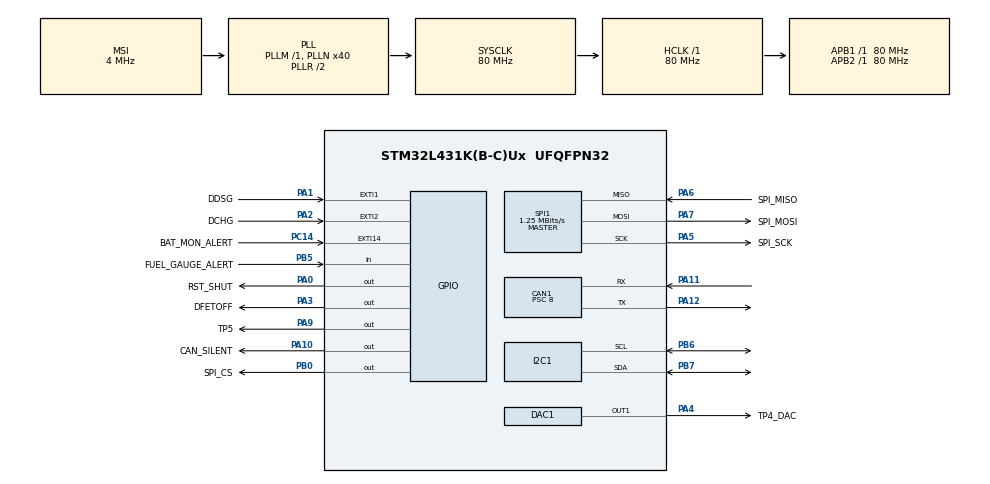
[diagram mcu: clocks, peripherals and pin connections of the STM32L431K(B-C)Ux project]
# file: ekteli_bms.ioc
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CAN1.ABOM=ENABLE
CAN1.AWUM=ENABLE
CAN1.BS1=CAN_BS1_14TQ
CAN1.BS2=CAN_BS2_5TQ
CAN1.CalculateBaudRate=500000
CAN1.CalculateTimeBit=2000
CAN1.CalculateTimeQuantum=100.0
CAN1.NART=ENABLE
CAN1.Prescaler=8
CAN1.RFLM=DISABLE
CAN1.TXFP=ENABLE
CRC.DefaultInitValueUse=DEFAULT_INIT_VALUE_ENABLE
CRC.DefaultPolynomialUse=DEFAULT_POLYNOMIAL_ENABLE
CRC.InputDataFormat=CRC_INPUTDATA_FORMAT_WORDS
FREERTOS.BinarySemaphores01=semaphore_1,Dynamic,NULL,Available
FREERTOS.Mutexes01=mutex_01,Dynamic,NULL,Available
FREERTOS.Queues01=CANQueue,32,can_message_t,0,Dynamic,NULL,NULL
FREERTOS.Tasks01=defaultTask,24,128,StartDefaultTask,Default,(void *)(uintptr_t)otp_status,Dynamic,NULL,NULL;BMSMonitor,24,128,bms_monitor,Default,NULL,Dynamic,NULL,NULL;FuelGaugeMonitor,8,128,fuel_gauge_monitor,Default,NULL,Dynamic,NULL,NULL;CANMonitor,8,128,can_monitor,Default,NULL,Dynamic,NULL,NULL;bms_task,24,128,bms_main_task,Default,NULL,Dynamic,NULL,NULL
FREERTOS.configCHECK_FOR_STACK_OVERFLOW=2
FREERTOS.configENABLE_FPU=1
FREERTOS.configMAX_TASK_NAME_LEN=32
FREERTOS.configTOTAL_HEAP_SIZE=5000
I2C1.Timing=0x10D19CE4
Mcu.Family=STM32L4
Mcu.Name=STM32L431K(B-C)Ux
Mcu.Package=UFQFPN32
NVIC.CAN1_RX0_IRQn=true\:5\:0\:false\:false\:true\:true\:true\:true\:true
NVIC.PriorityGroup=NVIC_PRIORITYGROUP_4
NVIC.TIM7_IRQn=true\:15\:0\:true\:false\:true\:false\:false\:true\:true
NVIC.TimeBase=TIM7_IRQn
NVIC.TimeBaseIP=TIM7
PA0.GPIO_Label=RST_SHUT
PA0.GPIO_PuPd=GPIO_PULLDOWN
PA0.Signal=GPIO_Output
PA1.GPIO_Label=DDSG
PA1.GPIO_ModeDefaultEXTI=GPIO_MODE_IT_FALLING
PA1.Signal=GPXTI1
PA10.GPIO_Label=CAN_SILENT
PA10.Signal=GPIO_Output
PA11.Mode=CAN_Activate
PA11.Signal=CAN1_RX
PA12.Mode=CAN_Activate
PA12.Signal=CAN1_TX
PA13\ (JTMS-SWDIO).Mode=Trace_Asynchronous_SW
PA13\ (JTMS-SWDIO).Signal=SYS_JTMS-SWDIO
PA14\ (JTCK-SWCLK).Mode=Trace_Asynchronous_SW
PA14\ (JTCK-SWCLK).Signal=SYS_JTCK-SWCLK
PA2.GPIO_Label=DCHG
PA2.GPIO_ModeDefaultEXTI=GPIO_MODE_IT_FALLING
PA2.Signal=GPXTI2
PA3.GPIO_Label=DFETOFF
PA3.Signal=GPIO_Output
PA4.GPIO_Label=TP4_DAC
PA4.Signal=COMP_DAC11_group
PA5.GPIO_Label=SPI_SCK
PA5.Mode=Full_Duplex_Master
PA5.Signal=SPI1_SCK
PA6.GPIO_Label=SPI_MISO
PA6.Mode=Full_Duplex_Master
PA6.Signal=SPI1_MISO
PA7.GPIO_Label=SPI_MOSI
PA7.Mode=Full_Duplex_Master
PA7.Signal=SPI1_MOSI
PA9.GPIO_Label=TP5
PA9.Signal=GPIO_Output
PB0.GPIO_Label=SPI_CS
PB0.PinState=GPIO_PIN_SET
PB0.Signal=GPIO_Output
PB3\ (JTDO-TRACESWO).Mode=Trace_Asynchronous_SW
PB3\ (JTDO-TRACESWO).Signal=SYS_JTDO-SWO
PB5.GPIO_Label=FUEL_GAUGE_ALERT
PB5.Signal=GPIO_Input
PB6.Mode=I2C
PB6.Signal=I2C1_SCL
PB7.Mode=I2C
PB7.Signal=I2C1_SDA
PC14-OSC32_IN\ (PC14).GPIO_Label=BAT_MON_ALERT
PC14-OSC32_IN\ (PC14).GPIO_ModeDefaultEXTI=GPIO_MODE_IT_RISING
PC14-OSC32_IN\ (PC14).GPIO_PuPd=GPIO_NOPULL
PC14-OSC32_IN\ (PC14).Signal=GPXTI14
ProjectManager.HeapSize=0x0
ProjectManager.StackSize=0x400
ProjectManager.TargetToolchain=STM32CubeIDE
RCC.AHBFreq_Value=80000000
RCC.APB1Freq_Value=80000000
RCC.APB1TimFreq_Value=80000000
RCC.APB2Freq_Value=80000000
RCC.APB2TimFreq_Value=80000000
RCC.CortexFreq_Value=80000000
RCC.HCLKFreq_Value=80000000
RCC.HSE_VALUE=8000000
RCC.HSI48_VALUE=48000000
RCC.HSI_VALUE=16000000
RCC.LSE_VALUE=32768
RCC.MSI_VALUE=4000000
RCC.PLLN=40
RCC.SYSCLKFreq_VALUE=80000000
RCC.SYSCLKSource=RCC_SYSCLKSOURCE_PLLCLK
RCC.VCOOutputFreq_Value=160000000
SH.COMP_DAC11_group.0=DAC1_OUT1,DAC_OUT1
SPI1.BaudRatePrescaler=SPI_BAUDRATEPRESCALER_64
SPI1.CRCCalculation=SPI_CRCCALCULATION_DISABLE
SPI1.CalculateBaudRate=1.25 MBits/s
SPI1.DataSize=SPI_DATASIZE_8BIT
SPI1.Direction=SPI_DIRECTION_2LINES
SPI1.Mode=SPI_MODE_MASTER
SPI1.NSSPMode=SPI_NSS_PULSE_DISABLE
SPI1.VirtualType=VM_MASTER
VP_CRC_VS_CRC.Mode=CRC_Activate
VP_FREERTOS_VS_CMSIS_V2.Mode=CMSIS_V2
VP_RTC_VS_RTC_Activate.Mode=RTC_Enabled
VP_SYS_VS_tim7.Mode=TIM7
board=custom

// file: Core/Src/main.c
/* USER CODE BEGIN Header */
/**
 ******************************************************************************
 * @file           : main.c
 * @brief          : Main program body
 ******************************************************************************
 * @attention
 *
 * Copyright (c) 2025 STMicroelectronics.
 * All rights reserved.
 *
 * This software is licensed under terms that can be found in the LICENSE file
 * in the root directory of this software component.
 * If no LICENSE file comes with this software, it is provided AS-IS.
 *
 ******************************************************************************
 */
/* USER CODE END Header */
#include "cmsis_os.h"
#include "main.h"

/* USER CODE BEGIN Includes */
#include <string.h>
#include "bms.h"
#include "can_driver.h"
#include "can_messages.h"
/* USER CODE END Includes */

/* USER CODE BEGIN PD */
#if !defined(BMS_MODEL_10S) && !defined(BMS_MODEL_14S)
#error "Must define BMS_MODEL_10S or BMS_MODEL_14S"
#endif

#define MIN_PACK_VOLTAGE_MV  (25000u)    // 2.5V per cell * 10 cells
#define MAX_PACK_VOLTAGE_MV  (42000u)    // 4.2V
#define DIFF_PACK_VOLTAGE_MV (MAX_PACK_VOLTAGE_MV - MIN_PACK_VOLTAGE_MV)

#define TIME_TO_SLEEP_MIN (1u)    // Time of inactivity before entering sleep mode (30 minutes)

#define APPLICATION_ADDRESS (0x08004000u)    // Defined in linker script FLASH ORIGIN
#define FLASH_LENGTH        (0x0001C000u)    // Defined in linker script FLASH LENGTH
/* USER CODE END PD */

/* USER CODE BEGIN PM */
#define TIME_TO_SLEEP_MS_FROM_MINUTES (TIME_TO_SLEEP_MIN * 60000u)
/* USER CODE END PM */

CAN_HandleTypeDef hcan1;

CRC_HandleTypeDef hcrc;

DAC_HandleTypeDef hdac1;

I2C_HandleTypeDef hi2c1;

RTC_HandleTypeDef hrtc;

SPI_HandleTypeDef hspi1;

/* Definitions for defaultTask */
osThreadId_t         defaultTaskHandle;
const osThreadAttr_t defaultTask_attributes = {
    .name       = "defaultTask",
    .stack_size = 128 * 4,
    .priority   = (osPriority_t)osPriorityNormal,
};
/* Definitions for BMSMonitor */
osThreadId_t         BMSMonitorHandle;
const osThreadAttr_t BMSMonitor_attributes = {
    .name       = "BMSMonitor",
    .stack_size = 128 * 4,
    .priority   = (osPriority_t)osPriorityNormal,
};
/* Definitions for FuelGaugeMonitor */
osThreadId_t         FuelGaugeMonitorHandle;
const osThreadAttr_t FuelGaugeMonitor_attributes = {
    .name       = "FuelGaugeMonitor",
    .stack_size = 128 * 4,
    .priority   = (osPriority_t)osPriorityLow,
};
/* Definitions for CANMonitor */
osThreadId_t         CANMonitorHandle;
const osThreadAttr_t CANMonitor_attributes = {
    .name       = "CANMonitor",
    .stack_size = 128 * 4,
    .priority   = (osPriority_t)osPriorityLow,
};
/* Definitions for bms_task */
osThreadId_t         bms_taskHandle;
const osThreadAttr_t bms_task_attributes = {
    .name       = "bms_task",
    .stack_size = 128 * 4,
    .priority   = (osPriority_t)osPriorityNormal,
};
/* Definitions for CANQueue */
osMessageQueueId_t         CANQueueHandle;
const osMessageQueueAttr_t CANQueue_attributes = {
    .name = "CANQueue"};
/* Definitions for mutex_01 */
osMutexId_t         mutex_01Handle;
const osMutexAttr_t mutex_01_attributes = {
    .name = "mutex_01"};
/* Definitions for semaphore_1 */
osSemaphoreId_t         semaphore_1Handle;
const osSemaphoreAttr_t semaphore_1_attributes = {
    .name = "semaphore_1"};
/* USER CODE BEGIN PV */

char opening_msg[] = "\r\n\r\nEKTELI BMS, version 1.1\r\n";

const uint16_t version = 110;    // e.g: ver 1.0.0 -> 100, ver 1.1.0 -> 110

// for debugging purposes
volatile uint8_t resetear_bms = 0;    // Set to 1 to reset the BMS by sending the reset command in the main loop

typedef enum
{
    SRC_LOW_FREQ_CLK  = 0,
    SRC_HIGH_FREQ_CLK = 1
} can_clock_freq_t;

/* USER CODE END PV */

void        SystemClock_Config(void);
static void MX_GPIO_Init(void);
static void MX_CAN1_Init(void);
static void MX_I2C1_Init(void);
static void MX_SPI1_Init(void);
static void MX_DAC1_Init(void);
static void MX_RTC_Init(void);
static void MX_CRC_Init(void);
void        StartDefaultTask(void *argument);
void        bms_monitor(void *argument);
void        fuel_gauge_monitor(void *argument);
void        can_monitor(void *argument);
void        bms_main_task(void *argument);

/* USER CODE BEGIN PFP */
void SystemClock_Decrease(void);
void adjust_can_clock(can_clock_freq_t freq);
/* USER CODE END PFP */

/* USER CODE BEGIN 0 */
/**
 * @brief Transmits the firmware version and CRC value over CAN bus.
 *
 * This function prepares a 6-byte buffer containing the firmware version
 * (2 bytes) and the 32-bit CRC value (4 bytes) calculated from the flash
 * memory region starting at APPLICATION_ADDRESS. The buffer is then sent
 * via CAN using the specified CAN message ID.
 *
 * Buffer layout:
 *   buffer[0-1]: Firmware version (big-endian)
 *   buffer[2-5]: CRC value (big-endian)
 *
 * @note The CRC is computed using HAL_CRC_Calculate with FLASH_LENGTH.
 */
void transmit_fw_version(void)
{
    uint8_t buffer[6];

    /* Get Firmware Version */
    buffer[0] = (version >> 8) & 0xFF;
    buffer[1] = version & 0xFF;

    /* Get 32bit CRC Flash Memory value */
    uint32_t crc_value = HAL_CRC_Calculate(&hcrc, (uint32_t *)APPLICATION_ADDRESS, FLASH_LENGTH / 4);

    buffer[2] = (crc_value >> 24) & 0xFF;
    buffer[3] = (crc_value >> 16) & 0xFF;
    buffer[4] = (crc_value >> 8) & 0xFF;
    buffer[5] = crc_value & 0xFF;

    /* Transmit on CAN */
    can_msg_transmit(CAN_ID_BMS_FW_VER, buffer, 6, 100u);

    if (HAL_RTCEx_BKUPRead(&hrtc, RTC_BKP_DR0) == FW_UPDATE_BYTE_SEQUENCE_1 &&
        HAL_RTCEx_BKUPRead(&hrtc, RTC_BKP_DR1) == FW_UPDATE_BYTE_SEQUENCE_2)
    {
        /* Reset backup registers */
        HAL_RTCEx_BKUPWrite(&hrtc, RTC_BKP_DR0, 0x00000000);
        HAL_RTCEx_BKUPWrite(&hrtc, RTC_BKP_DR1, 0x00000000);
    }
}

void enter_sleep_mode(void)
{
    can_msg_transmit(CAN_ID_BMS, (uint8_t *)"SLEEP\r\n", 7, 100u);

    /* 1. Prepare peripherals for sleep */
    // bms: sleep, deepsleep, shutdown?
    // answers:
    //   -sleep: the DSG FET is enabled, the CHG FET can optionally be disabled. the device is operating in a reduced power
    //           stage to minimize total average current consumption
    //   -deepsleep: CHG and DSG FETs are disabled, all battery
    //           protections are disabled, and no current or voltage measurements are taken. The REG1 and REG2 LDOs
    //           can be kept powered
    //   -shutdown:  lowest power state of the device, which may be used for shipment or
    //               long-term storage. All register settings are lost when in SHUTDOWN mode

    /* When
     * the CC1 Current measurement falls below a SLEEP current threshold given by Power:Sleep:Sleep Current, the
     * system is considered in RELAX mode, and the BQ76952 device can autonomously transition into SLEEP mode,
     * depending on the configuration */

    /* 3. Enter Stop Mode 2 (lowest power with RAM retention) */
    /*    MCU will wake on CAN interrupt (EXTI line 25 for CAN1) */
    //    HAL_PWREx_EnterSTOP2Mode(PWR_STOPENTRY_WFI);

    /* NOTA CESAR: CAN puede operar en modos Run, Sleep, Low Power Run y Low Power Sleep
     *   -sleep: only the CPU is stopped. All peripherals continue to operate and can
     *           wake up the CPU when an interrupt/event occurs.
     *   -low power sleep: entered from the low-power run mode. Only the CPU clock is stopped.
     *           When wakeup is triggered by an event or an interrupt, the system reverts to the low-power run mode.
     */

    /* Suspend SysTick to avoid waking from tick interrupt */
    __HAL_FLASH_SLEEP_POWERDOWN_ENABLE();
    osKernelLock();
    SysTick->CTRL &= ~SysTick_CTRL_ENABLE_Msk;

    /* Send DEEPSLEEP() twice in a row within 4 seconds */
    command_subcommands(ADDR_DEEPSLEEP);
    HAL_Delay(10);    // Short delay to ensure the first command is processed
    command_subcommands(ADDR_DEEPSLEEP);

    /* Reduce clock and prepare CAN for low-frequency HCLK operation */
    SystemClock_Decrease();

    HAL_SuspendTick();

    HAL_CAN_Stop(&hcan1);

    adjust_can_clock(SRC_LOW_FREQ_CLK);

    HAL_CAN_Start(&hcan1);

    /* Enter Sleep Mode */
    HAL_PWR_EnterSLEEPMode(PWR_LOWPOWERREGULATOR_ON, PWR_SLEEPENTRY_WFI);

    /* ---- MCU resumes here after wake-up ---- */

    /* Restore normal run mode, sysclock, CAN peripheral, and systick */
    HAL_PWREx_DisableLowPowerRunMode();

    /* 4. Restore system clock (Stop mode resets to MSI) */
    SystemClock_Config();

    HAL_CAN_Stop(&hcan1);

    adjust_can_clock(SRC_HIGH_FREQ_CLK);

    HAL_CAN_Start(&hcan1);

    SysTick->CTRL |= SysTick_CTRL_ENABLE_Msk;
    HAL_ResumeTick();
    osKernelUnlock();

    /* bms: normal mode (exit_deepsleep) */
    command_subcommands(ADDR_EXIT_DEEPSLEEP);
}

/**
 * @brief  System Clock Speed decrease
 *         The system Clock source is shifted from HSI to MSI
 *         while at the same time, MSI range is set to RCC_MSIRANGE_5
 *         to go down to 2000 KHz
 * @param  None
 * @retval None
 */
void SystemClock_Decrease(void)
{
    RCC_ClkInitTypeDef RCC_ClkInitStruct = {0};
    RCC_OscInitTypeDef RCC_OscInitStruct = {0};

    /* MSI is enabled after System reset, activate PLL with MSI as source */
    RCC_OscInitStruct.OscillatorType      = RCC_OSCILLATORTYPE_MSI;
    RCC_OscInitStruct.HSEState            = RCC_HSE_OFF;
    RCC_OscInitStruct.HSIState            = RCC_HSI_ON;
    RCC_OscInitStruct.MSIState            = RCC_MSI_ON;
    RCC_OscInitStruct.MSIClockRange       = RCC_CR_MSIRANGE_5;
    RCC_OscInitStruct.MSICalibrationValue = RCC_MSICALIBRATION_DEFAULT;
    RCC_OscInitStruct.PLL.PLLState        = RCC_PLL_NONE;
    if (HAL_RCC_OscConfig(&RCC_OscInitStruct) != HAL_OK)
    {
        /* Initialization Error */
        Error_Handler();
    }

    /* Select MSI as system clock source and configure the HCLK, PCLK1 and PCLK2
       clocks dividers */
    RCC_ClkInitStruct.ClockType      = RCC_CLOCKTYPE_SYSCLK;
    RCC_ClkInitStruct.SYSCLKSource   = RCC_SYSCLKSOURCE_MSI;
    RCC_ClkInitStruct.AHBCLKDivider  = RCC_SYSCLK_DIV1;
    RCC_ClkInitStruct.APB1CLKDivider = RCC_HCLK_DIV1;
    RCC_ClkInitStruct.APB2CLKDivider = RCC_HCLK_DIV1;
    if (HAL_RCC_ClockConfig(&RCC_ClkInitStruct, FLASH_LATENCY_0) != HAL_OK)
    {
        /* Initialization Error */
        Error_Handler();
    }

    /* Disable HSI to reduce power consumption since MSI is used from that point */
    __HAL_RCC_HSI_DISABLE();
}

void adjust_can_clock(can_clock_freq_t freq)
{
    hcan1.Init.Mode          = CAN_MODE_NORMAL;
    hcan1.Init.SyncJumpWidth = CAN_SJW_1TQ;

    if (freq == SRC_LOW_FREQ_CLK)
    {
        hcan1.Init.Prescaler = 1;
        hcan1.Init.TimeSeg1  = CAN_BS1_2TQ;
        hcan1.Init.TimeSeg2  = CAN_BS2_1TQ;
    }
    else
    {
        hcan1.Init.Prescaler = 8;
        hcan1.Init.TimeSeg1  = CAN_BS1_14TQ;
        hcan1.Init.TimeSeg2  = CAN_BS2_5TQ;
    }

    WRITE_REG(hcan1.Instance->BTR, (uint32_t)(hcan1.Init.Mode | hcan1.Init.SyncJumpWidth | hcan1.Init.TimeSeg1 | hcan1.Init.TimeSeg2 | (hcan1.Init.Prescaler - 1U)));
}
/* USER CODE END 0 */

int main(void)
{

    /* MCU Configuration--------------------------------------------------------*/

    /* Reset of all peripherals, Initializes the Flash interface and the Systick. */
    (void)HAL_Init();

    /* Configure the system clock */
    SystemClock_Config();

    /* Initialize all configured peripherals */
    MX_GPIO_Init();
    MX_CAN1_Init();
    MX_I2C1_Init();
    MX_SPI1_Init();
    MX_DAC1_Init();
    MX_RTC_Init();
    MX_CRC_Init();
    /* USER CODE BEGIN 2 */

    // Set DAC output to 3.3V to signal main app is started
    HAL_DAC_Start(&hdac1, DAC_CHANNEL_1);
    HAL_DAC_SetValue(&hdac1, DAC_CHANNEL_1, DAC_ALIGN_12B_R, 4095);

    HAL_CAN_Start(&hcan1);

    can_msg_transmit(CAN_ID_BMS, (uint8_t *)opening_msg, strlen(opening_msg), 100u);

#if 0
    if (version == 2)
    {
        HAL_RTCEx_BKUPWrite(&hrtc, RTC_BKP_DR0, 0);
        HAL_RTCEx_BKUPWrite(&hrtc, RTC_BKP_DR1, 0);
    }

    while (1)
    {
        can_decode_cmd();
        HAL_Delay(10);
    }
#endif

    transmit_fw_version();

    subcommands(ADDR_DEVICE_NUMBER, 0, 0);
    direct_commands(ADDR_BATTERY_STATUS, 0, 0);    // read
    direct_commands(ADDR_ALARM_RAW_STATUS, 0, 0);
    subcommands(ADDR_CB_SET_LVL1, 0, 0);
    HAL_Delay(60);

    bms_otp_status_t otp_status = bms_otp_check();

    bms_init();    // Configure all of the BQ769x2 register settings

    HAL_Delay(10);
    command_subcommands(ADDR_FET_ENABLE);    // Enable the CHG and DSG FETs
    HAL_Delay(10);
    command_subcommands(ADDR_SLEEP_DISABLE);
    /* USER CODE END 2 */

    /* Init scheduler */
    osKernelInitialize();
    /* Create the mutex(es) */
    /* creation of mutex_01 */
    mutex_01Handle = osMutexNew(&mutex_01_attributes);

    /* Create the semaphores(s) */
    /* creation of semaphore_1 */
    semaphore_1Handle = osSemaphoreNew(1, 1, &semaphore_1_attributes);

    /* Create the queue(s) */
    /* creation of CANQueue */
    CANQueueHandle = osMessageQueueNew(32, sizeof(can_message_t), &CANQueue_attributes);

    /* Create the thread(s) */
    /* creation of defaultTask */
    defaultTaskHandle = osThreadNew(StartDefaultTask, (void *)(uintptr_t)otp_status, &defaultTask_attributes);

    /* creation of BMSMonitor */
    BMSMonitorHandle = osThreadNew(bms_monitor, NULL, &BMSMonitor_attributes);

    /* creation of FuelGaugeMonitor */
    FuelGaugeMonitorHandle = osThreadNew(fuel_gauge_monitor, NULL, &FuelGaugeMonitor_attributes);

    /* creation of CANMonitor */
    CANMonitorHandle = osThreadNew(can_monitor, NULL, &CANMonitor_attributes);

    /* creation of bms_task */
    bms_taskHandle = osThreadNew(bms_main_task, NULL, &bms_task_attributes);

    /* USER CODE BEGIN RTOS_THREADS */
    /* add threads, ... */
#if 0
    if (otp_status != BMS_OTP_OK)
    {
        osThreadSuspend(defaultTaskHandle);
    }
#endif
    /* USER CODE END RTOS_THREADS */

    /* Start scheduler */
    osKernelStart();

    /* We should never get here as control is now taken by the scheduler */

    /* Infinite loop */
    while (1)
    {

    }
}

void SystemClock_Config(void)
{
    RCC_OscInitTypeDef RCC_OscInitStruct = {0};
    RCC_ClkInitTypeDef RCC_ClkInitStruct = {0};

    /** Configure the main internal regulator output voltage
     */
    if (HAL_PWREx_ControlVoltageScaling(PWR_REGULATOR_VOLTAGE_SCALE1) != HAL_OK)
    {
        Error_Handler();
    }

    /** Initializes the RCC Oscillators according to the specified parameters
     * in the RCC_OscInitTypeDef structure.
     */
    RCC_OscInitStruct.OscillatorType      = RCC_OSCILLATORTYPE_LSI | RCC_OSCILLATORTYPE_MSI;
    RCC_OscInitStruct.LSIState            = RCC_LSI_ON;
    RCC_OscInitStruct.MSIState            = RCC_MSI_ON;
    RCC_OscInitStruct.MSICalibrationValue = 0;
    RCC_OscInitStruct.MSIClockRange       = RCC_MSIRANGE_6;
    RCC_OscInitStruct.PLL.PLLState        = RCC_PLL_ON;
    RCC_OscInitStruct.PLL.PLLSource       = RCC_PLLSOURCE_MSI;
    RCC_OscInitStruct.PLL.PLLM            = 1;
    RCC_OscInitStruct.PLL.PLLN            = 40;
    RCC_OscInitStruct.PLL.PLLP            = RCC_PLLP_DIV7;
    RCC_OscInitStruct.PLL.PLLQ            = RCC_PLLQ_DIV2;
    RCC_OscInitStruct.PLL.PLLR            = RCC_PLLR_DIV2;
    if (HAL_RCC_OscConfig(&RCC_OscInitStruct) != HAL_OK)
    {
        Error_Handler();
    }

    /** Initializes the CPU, AHB and APB buses clocks
     */
    RCC_ClkInitStruct.ClockType      = RCC_CLOCKTYPE_HCLK | RCC_CLOCKTYPE_SYSCLK | RCC_CLOCKTYPE_PCLK1 | RCC_CLOCKTYPE_PCLK2;
    RCC_ClkInitStruct.SYSCLKSource   = RCC_SYSCLKSOURCE_PLLCLK;
    RCC_ClkInitStruct.AHBCLKDivider  = RCC_SYSCLK_DIV1;
    RCC_ClkInitStruct.APB1CLKDivider = RCC_HCLK_DIV1;
    RCC_ClkInitStruct.APB2CLKDivider = RCC_HCLK_DIV1;

    if (HAL_RCC_ClockConfig(&RCC_ClkInitStruct, FLASH_LATENCY_4) != HAL_OK)
    {
        Error_Handler();
    }
}

static void MX_CAN1_Init(void)
{

    hcan1.Instance                  = CAN1;
    hcan1.Init.Prescaler            = 8;
    hcan1.Init.Mode                 = CAN_MODE_NORMAL;
    hcan1.Init.SyncJumpWidth        = CAN_SJW_1TQ;
    hcan1.Init.TimeSeg1             = CAN_BS1_14TQ;
    hcan1.Init.TimeSeg2             = CAN_BS2_5TQ;
    hcan1.Init.TimeTriggeredMode    = DISABLE;
    hcan1.Init.AutoBusOff           = ENABLE;
    hcan1.Init.AutoWakeUp           = ENABLE;
    hcan1.Init.AutoRetransmission   = ENABLE;
    hcan1.Init.ReceiveFifoLocked    = DISABLE;
    hcan1.Init.TransmitFifoPriority = ENABLE;
    if (HAL_CAN_Init(&hcan1) != HAL_OK)
    {
        Error_Handler();
    }
    /* USER CODE BEGIN CAN1_Init 2 */

    /* Set filter bank to accept IDs 0x100-0x1FF */
    CAN_FilterTypeDef sFilterConfig;
    sFilterConfig.FilterMode           = CAN_FILTERMODE_IDMASK;
    sFilterConfig.FilterScale          = CAN_FILTERSCALE_32BIT;
    sFilterConfig.FilterIdHigh         = 0x0100 << 5;
    sFilterConfig.FilterIdLow          = 0x0000;
    sFilterConfig.FilterMaskIdHigh     = 0xFF00 << 5;
    sFilterConfig.FilterMaskIdLow      = 0x0000;
    sFilterConfig.SlaveStartFilterBank = 14;
    sFilterConfig.FilterBank           = 0;
    sFilterConfig.FilterFIFOAssignment = CAN_RX_FIFO0;
    sFilterConfig.FilterActivation     = CAN_FILTER_ENABLE;

    if (HAL_CAN_ConfigFilter(&hcan1, &sFilterConfig) != HAL_OK)
    {
        /* Filter configuration Error */
        Error_Handler();
    }

    /* Enable CAN interrupts */
    HAL_CAN_ActivateNotification(&hcan1, CAN_IT_RX_FIFO0_MSG_PENDING);

    /* USER CODE END CAN1_Init 2 */
}

static void MX_CRC_Init(void)
{

    hcrc.Instance                     = CRC;
    hcrc.Init.DefaultPolynomialUse    = DEFAULT_POLYNOMIAL_ENABLE;
    hcrc.Init.DefaultInitValueUse     = DEFAULT_INIT_VALUE_ENABLE;
    hcrc.Init.InputDataInversionMode  = CRC_INPUTDATA_INVERSION_NONE;
    hcrc.Init.OutputDataInversionMode = CRC_OUTPUTDATA_INVERSION_DISABLE;
    hcrc.InputDataFormat              = CRC_INPUTDATA_FORMAT_WORDS;
    if (HAL_CRC_Init(&hcrc) != HAL_OK)
    {
        Error_Handler();
    }
}

static void MX_DAC1_Init(void)
{

    DAC_ChannelConfTypeDef sConfig = {0};

    /** DAC Initialization
     */
    hdac1.Instance = DAC1;
    if (HAL_DAC_Init(&hdac1) != HAL_OK)
    {
        Error_Handler();
    }

    /** DAC channel OUT1 config
     */
    sConfig.DAC_SampleAndHold           = DAC_SAMPLEANDHOLD_DISABLE;
    sConfig.DAC_Trigger                 = DAC_TRIGGER_NONE;
    sConfig.DAC_OutputBuffer            = DAC_OUTPUTBUFFER_ENABLE;
    sConfig.DAC_ConnectOnChipPeripheral = DAC_CHIPCONNECT_DISABLE;
    sConfig.DAC_UserTrimming            = DAC_TRIMMING_FACTORY;
    if (HAL_DAC_ConfigChannel(&hdac1, &sConfig, DAC_CHANNEL_1) != HAL_OK)
    {
        Error_Handler();
    }
}

static void MX_I2C1_Init(void)
{

    hi2c1.Instance              = I2C1;
    hi2c1.Init.Timing           = 0x10D19CE4;
    hi2c1.Init.OwnAddress1      = 0;
    hi2c1.Init.AddressingMode   = I2C_ADDRESSINGMODE_7BIT;
    hi2c1.Init.DualAddressMode  = I2C_DUALADDRESS_DISABLE;
    hi2c1.Init.OwnAddress2      = 0;
    hi2c1.Init.OwnAddress2Masks = I2C_OA2_NOMASK;
    hi2c1.Init.GeneralCallMode  = I2C_GENERALCALL_DISABLE;
    hi2c1.Init.NoStretchMode    = I2C_NOSTRETCH_DISABLE;
    if (HAL_I2C_Init(&hi2c1) != HAL_OK)
    {
        Error_Handler();
    }

    /** Configure Analogue filter
     */
    if (HAL_I2CEx_ConfigAnalogFilter(&hi2c1, I2C_ANALOGFILTER_ENABLE) != HAL_OK)
    {
        Error_Handler();
    }

    /** Configure Digital filter
     */
    if (HAL_I2CEx_ConfigDigitalFilter(&hi2c1, 0) != HAL_OK)
    {
        Error_Handler();
    }
}

static void MX_RTC_Init(void)
{

    /** Initialize RTC Only
     */
    hrtc.Instance            = RTC;
    hrtc.Init.HourFormat     = RTC_HOURFORMAT_24;
    hrtc.Init.AsynchPrediv   = 127;
    hrtc.Init.SynchPrediv    = 255;
    hrtc.Init.OutPut         = RTC_OUTPUT_DISABLE;
    hrtc.Init.OutPutRemap    = RTC_OUTPUT_REMAP_NONE;
    hrtc.Init.OutPutPolarity = RTC_OUTPUT_POLARITY_HIGH;
    hrtc.Init.OutPutType     = RTC_OUTPUT_TYPE_OPENDRAIN;
    if (HAL_RTC_Init(&hrtc) != HAL_OK)
    {
        Error_Handler();
    }
}

static void MX_SPI1_Init(void)
{

    /* SPI1 parameter configuration*/
    hspi1.Instance               = SPI1;
    hspi1.Init.Mode              = SPI_MODE_MASTER;
    hspi1.Init.Direction         = SPI_DIRECTION_2LINES;
    hspi1.Init.DataSize          = SPI_DATASIZE_8BIT;
    hspi1.Init.CLKPolarity       = SPI_POLARITY_LOW;
    hspi1.Init.CLKPhase          = SPI_PHASE_1EDGE;
    hspi1.Init.NSS               = SPI_NSS_SOFT;
    hspi1.Init.BaudRatePrescaler = SPI_BAUDRATEPRESCALER_64;
    hspi1.Init.FirstBit          = SPI_FIRSTBIT_MSB;
    hspi1.Init.TIMode            = SPI_TIMODE_DISABLE;
    hspi1.Init.CRCCalculation    = SPI_CRCCALCULATION_DISABLE;
    hspi1.Init.CRCPolynomial     = 7;
    hspi1.Init.CRCLength         = SPI_CRC_LENGTH_DATASIZE;
    hspi1.Init.NSSPMode          = SPI_NSS_PULSE_DISABLE;
    if (HAL_SPI_Init(&hspi1) != HAL_OK)
    {
        Error_Handler();
    }
}

static void MX_GPIO_Init(void)
{
    GPIO_InitTypeDef GPIO_InitStruct = {0};

    /* GPIO Ports Clock Enable */
    __HAL_RCC_GPIOC_CLK_ENABLE();
    __HAL_RCC_GPIOA_CLK_ENABLE();
    __HAL_RCC_GPIOB_CLK_ENABLE();
    __HAL_RCC_GPIOH_CLK_ENABLE();

    /*Configure GPIO pin Output Level */
    HAL_GPIO_WritePin(GPIOA, RST_SHUT_Pin | DFETOFF_Pin | TP5_Pin | CAN_SILENT_Pin, GPIO_PIN_RESET);

    /*Configure GPIO pin Output Level */
    HAL_GPIO_WritePin(SPI_CS_GPIO_Port, SPI_CS_Pin, GPIO_PIN_SET);

    /*Configure GPIO pin : BAT_MON_ALERT_Pin */
    GPIO_InitStruct.Pin  = BAT_MON_ALERT_Pin;
    GPIO_InitStruct.Mode = GPIO_MODE_IT_RISING;
    GPIO_InitStruct.Pull = GPIO_NOPULL;
    HAL_GPIO_Init(BAT_MON_ALERT_GPIO_Port, &GPIO_InitStruct);

    /*Configure GPIO pin : PC15 */
    GPIO_InitStruct.Pin  = GPIO_PIN_15;
    GPIO_InitStruct.Mode = GPIO_MODE_ANALOG;
    GPIO_InitStruct.Pull = GPIO_NOPULL;
    HAL_GPIO_Init(GPIOC, &GPIO_InitStruct);

    /*Configure GPIO pin : RST_SHUT_Pin */
    GPIO_InitStruct.Pin   = RST_SHUT_Pin;
    GPIO_InitStruct.Mode  = GPIO_MODE_OUTPUT_PP;
    GPIO_InitStruct.Pull  = GPIO_PULLDOWN;
    GPIO_InitStruct.Speed = GPIO_SPEED_FREQ_LOW;
    HAL_GPIO_Init(RST_SHUT_GPIO_Port, &GPIO_InitStruct);

    /*Configure GPIO pins : DDSG_Pin DCHG_Pin */
    GPIO_InitStruct.Pin  = DDSG_Pin | DCHG_Pin;
    GPIO_InitStruct.Mode = GPIO_MODE_IT_FALLING;
    GPIO_InitStruct.Pull = GPIO_NOPULL;
    HAL_GPIO_Init(GPIOA, &GPIO_InitStruct);

    /*Configure GPIO pins : DFETOFF_Pin TP5_Pin CAN_SILENT_Pin */
    GPIO_InitStruct.Pin   = DFETOFF_Pin | TP5_Pin | CAN_SILENT_Pin;
    GPIO_InitStruct.Mode  = GPIO_MODE_OUTPUT_PP;
    GPIO_InitStruct.Pull  = GPIO_NOPULL;
    GPIO_InitStruct.Speed = GPIO_SPEED_FREQ_LOW;
    HAL_GPIO_Init(GPIOA, &GPIO_InitStruct);

    /*Configure GPIO pin : SPI_CS_Pin */
    GPIO_InitStruct.Pin   = SPI_CS_Pin;
    GPIO_InitStruct.Mode  = GPIO_MODE_OUTPUT_PP;
    GPIO_InitStruct.Pull  = GPIO_NOPULL;
    GPIO_InitStruct.Speed = GPIO_SPEED_FREQ_LOW;
    HAL_GPIO_Init(SPI_CS_GPIO_Port, &GPIO_InitStruct);

    /*Configure GPIO pins : PB1 PB4 */
    GPIO_InitStruct.Pin  = GPIO_PIN_1 | GPIO_PIN_4;
    GPIO_InitStruct.Mode = GPIO_MODE_ANALOG;
    GPIO_InitStruct.Pull = GPIO_NOPULL;
    HAL_GPIO_Init(GPIOB, &GPIO_InitStruct);

    /*Configure GPIO pins : PA8 PA15 */
    GPIO_InitStruct.Pin  = GPIO_PIN_8 | GPIO_PIN_15;
    GPIO_InitStruct.Mode = GPIO_MODE_ANALOG;
    GPIO_InitStruct.Pull = GPIO_NOPULL;
    HAL_GPIO_Init(GPIOA, &GPIO_InitStruct);

    /*Configure GPIO pin : FUEL_GAUGE_ALERT_Pin */
    GPIO_InitStruct.Pin  = FUEL_GAUGE_ALERT_Pin;
    GPIO_InitStruct.Mode = GPIO_MODE_INPUT;
    GPIO_InitStruct.Pull = GPIO_NOPULL;
    HAL_GPIO_Init(FUEL_GAUGE_ALERT_GPIO_Port, &GPIO_InitStruct);

    /*Configure GPIO pin : PH3 */
    GPIO_InitStruct.Pin  = GPIO_PIN_3;
    GPIO_InitStruct.Mode = GPIO_MODE_ANALOG;
    GPIO_InitStruct.Pull = GPIO_NOPULL;
    HAL_GPIO_Init(GPIOH, &GPIO_InitStruct);

}

void StartDefaultTask(void *argument)
{
    /* USER CODE BEGIN 5 */
    bms_otp_status_t otp_status = (bms_otp_status_t)(uintptr_t)argument;

    uint32_t delay_ms;

    switch (otp_status)
    {
        case BMS_OTP_OK:
            delay_ms = 500u;
            break;

        case BMS_OTP_NOT_PROGRAMMED:
            delay_ms = 250u;
            break;

        case BMS_OTP_BQ_NOT_DETECTED:
            delay_ms = 167u;
            break;

        case BMS_OTP_CONDITIONS_NOT_MET:
            delay_ms = 125u;
            break;

        case BMS_OTP_FAILED:
            delay_ms = 100u;
            break;

        case BMS_OTP_ERROR:
            delay_ms = 83u;
            break;

        default:
            delay_ms = 50u;
            break;
    }

    /* Infinite loop */
    for (;;)
    {
        HAL_GPIO_TogglePin(TP5_GPIO_Port, TP5_Pin);
        osDelay(pdMS_TO_TICKS(delay_ms));
    }
    /* USER CODE END 5 */
}

void bms_monitor(void *argument)
{
    /* USER CODE BEGIN bms_monitor */
    UNUSED(argument);

    /* Infinite loop */
    for (;;)
    {
        osDelay(1);
    }
    /* USER CODE END bms_monitor */
}

void fuel_gauge_monitor(void *argument)
{
    /* USER CODE BEGIN fuel_gauge_monitor */
    UNUSED(argument);

    uint8_t data[8] = {0};

    data[0] = 0x7E;
    data[1] = 0x7F;

    HAL_I2C_IsDeviceReady(&hi2c1, 0xAB, 3, 100);
    HAL_I2C_Master_Transmit(&hi2c1, 0xAA, data, 2, 100);
    HAL_I2C_Master_Receive(&hi2c1, 0xAB, &data[3], 2, 100);
    /* Infinite loop */
    for (;;)
    {
        osDelay(1);
    }
    /* USER CODE END fuel_gauge_monitor */
}

void can_monitor(void *argument)
{
    /* USER CODE BEGIN can_monitor */
    UNUSED(argument);

    can_message_t msg;

    uint32_t sleep_counter = 0u;

    const uint32_t count_to_sleep_ms = 1000;          // TIME_TO_SLEEP_MS_FROM_MINUTES;
    assert_param(count_to_sleep_ms <= UINT32_MAX);    // ensure it doesn't overflow

    const uint32_t can_monitor_delay_ms = 10u;
    osStatus_t     status;

    for (;;)
    {
        status = osMessageQueueGet(CANQueueHandle, &msg, NULL, can_monitor_delay_ms);

        if (status == osOK)
        {
            sleep_counter = 0u;
            can_decode_cmd(&msg);
        }

        sleep_counter += can_monitor_delay_ms;    // increment by 10ms

        /* If no CAN messages received for a while, enter sleep mode */
        if (sleep_counter >= count_to_sleep_ms)
        {
            sleep_counter = 0u;
            enter_sleep_mode();
        }

        //        osDelay(pdMS_TO_TICKS(can_monitor_delay_ms));
    }
    /* USER CODE END can_monitor */
}

void bms_main_task(void *argument)
{
    /* USER CODE BEGIN bms_main_task */
    UNUSED(argument);

    uint8_t buffer[8];
    float   temperature[3] = {0.0f};

    /* Infinite loop */
    for (;;)
    {
        /* Send Battery Status */
        // SoC and SoH come from the Fuel Gauge IC. for now estimating SoC based on voltage,
        // SoH is set to 100%
        uint16_t voltage = bq769x2_read_voltage(ADDR_STACK_VOLTAGE);
        if (voltage < MIN_PACK_VOLTAGE_MV)
        {
            voltage = MIN_PACK_VOLTAGE_MV;
        }

        int16_t current = bq769x2_read_current() / 10;    // mA -> A -> CAN doc units: (val mA * (1 A / 1000 mA) * (100 units / 1 A)) = val / 10

        temperature[0] = bq769x2_read_temperature(0x70);    // TS1Temperature
        temperature[1] = bq769x2_read_temperature(0x74);    // TS3Temperature
        // TS2 not used, third temp sensor is on Fuel Gauge IC

        float temp_avg_f = (temperature[0] + temperature[1]) / 2.0f;
        if (temp_avg_f < -40.0f)
        {
            temp_avg_f = -40.0f;
        }
        if (temp_avg_f > 215.0f)
        {
            temp_avg_f = 215.0f;
        }

        uint8_t temp_avg = (uint8_t)(temp_avg_f + 40.0f);

        uint8_t soc = (voltage - MIN_PACK_VOLTAGE_MV) * 100 / DIFF_PACK_VOLTAGE_MV;
        uint8_t soh = 100u;

        buffer[0] = soc;
        buffer[1] = soh;
        buffer[2] = (voltage >> 8) & 0xFF;
        buffer[3] = voltage & 0xFF;
        buffer[4] = (current >> 8) & 0xFF;
        buffer[5] = current & 0xFF;
        buffer[6] = temp_avg;
        can_msg_transmit(CAN_ID_BATTERY_STATUS, (uint8_t *)&buffer, 8, 100u);

        /* Send BMS Safety & Alarm Flags */
        bq769x2_read_safety_status();
        bq769x2_read_pf_status();
        bq769x2_read_cell_voltages();

        uint16_t min_voltage = get_smallest_cell_voltage();
        uint16_t max_voltage = get_largest_cell_voltage();
        float    max_temp    = temperature[0] > temperature[1] ? temperature[0] : temperature[1];
        if (max_temp < -40.0f)
        {
            max_temp = -40.0f;
        }
        if (max_temp > 215.0f)
        {
            max_temp = 215.0f;
        }

        uint16_t alarm_bits = bq769x2_read_alarm_status();
        uint8_t  fuse_ok;
        if (alarm_bits & 0x0008)
        {
            fuse_ok = 0;    // blown
        }
        else
        {
            fuse_ok = 1;    // ok
        }

        buffer[0] = bms_get_faults();
        buffer[1] = (min_voltage >> 8) & 0xFF;
        buffer[2] = min_voltage & 0xFF;
        buffer[3] = (max_voltage >> 8) & 0xFF;
        buffer[4] = max_voltage & 0xFF;
        buffer[5] = (uint8_t)(max_temp + 40.0f);
        buffer[6] = fuse_ok;
        can_msg_transmit(CAN_ID_BMS_SAFETY, (uint8_t *)&buffer, 8, 100u);

        /* Send BMS Operating Status */
        int16_t max_discharge_current = (int16_t)(10.0f * 100.0f);    // set 10A max discharge current for now
        int16_t max_charge_current    = (int16_t)(3.0f * 100.0f);     // set 3A max charge current for now

        buffer[0] = get_balancing_status();
        buffer[1] = (max_discharge_current >> 8) & 0xFF;
        buffer[2] = max_discharge_current & 0xFF;
        buffer[3] = (max_charge_current >> 8) & 0xFF;
        buffer[4] = max_charge_current & 0xFF;

        bq769x2_read_fet_status();

        buffer[5] = get_charging_status();
        buffer[6] = get_bms_status();
        buffer[7] = get_fet_status();
        can_msg_transmit(CAN_ID_BMS_OPERATION, (uint8_t *)&buffer, 8, 100u);

        if (resetear_bms == 1u)
        {
            command_subcommands(ADDR_RESET);
            HAL_Delay(100);
            bms_init();
        }

        osDelay(pdMS_TO_TICKS(500));
    }
    /* USER CODE END bms_main_task */
}

void HAL_TIM_PeriodElapsedCallback(TIM_HandleTypeDef *htim)
{
    if (htim->Instance == TIM7)
    {
        HAL_IncTick();
    }
}

__NO_RETURN void Error_Handler(void)
{
    __disable_irq();
    while (1)
    {
    }
}

#ifdef USE_FULL_ASSERT
/**
 * @brief  Reports the name of the source file and the source line number
 *         where the assert_param error has occurred.
 * @param  file: pointer to the source file name
 * @param  line: assert_param error line source number
 * @retval None
 */
__NO_RETURN __attribute__((naked)) void assert_failed(const uint8_t *file, uint32_t line)
{
    /* USER CODE BEGIN 6 */
    /* User can add his own implementation to report the file name and line number,
       ex: printf("Wrong parameters value: file %s on line %d\r\n", file, line) */
    UNUSED(file);
    UNUSED(line);

    /* USER CODE END 6 */
}
#endif /* USE_FULL_ASSERT */

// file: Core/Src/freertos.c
/* USER CODE BEGIN Header */
/**
 ******************************************************************************
 * File Name          : freertos.c
 * Description        : Code for freertos applications
 ******************************************************************************
 * @attention
 *
 * Copyright (c) 2025 STMicroelectronics.
 * All rights reserved.
 *
 * This software is licensed under terms that can be found in the LICENSE file
 * in the root directory of this software component.
 * If no LICENSE file comes with this software, it is provided AS-IS.
 *
 ******************************************************************************
 */
/* USER CODE END Header */

#include "FreeRTOS.h"
#include "main.h"
#include "task.h"

/* Hook prototypes */
void vApplicationStackOverflowHook(xTaskHandle xTask, signed char *pcTaskName);

/* USER CODE BEGIN 4 */
void vApplicationStackOverflowHook(xTaskHandle xTask, signed char *pcTaskName)
{
    /* Run time stack overflow checking is performed if
    configCHECK_FOR_STACK_OVERFLOW is defined to 1 or 2. This hook function is
    called if a stack overflow is detected. */
    (void)xTask;
    (void)pcTaskName;
    configASSERT(0);
}
/* USER CODE END 4 */
